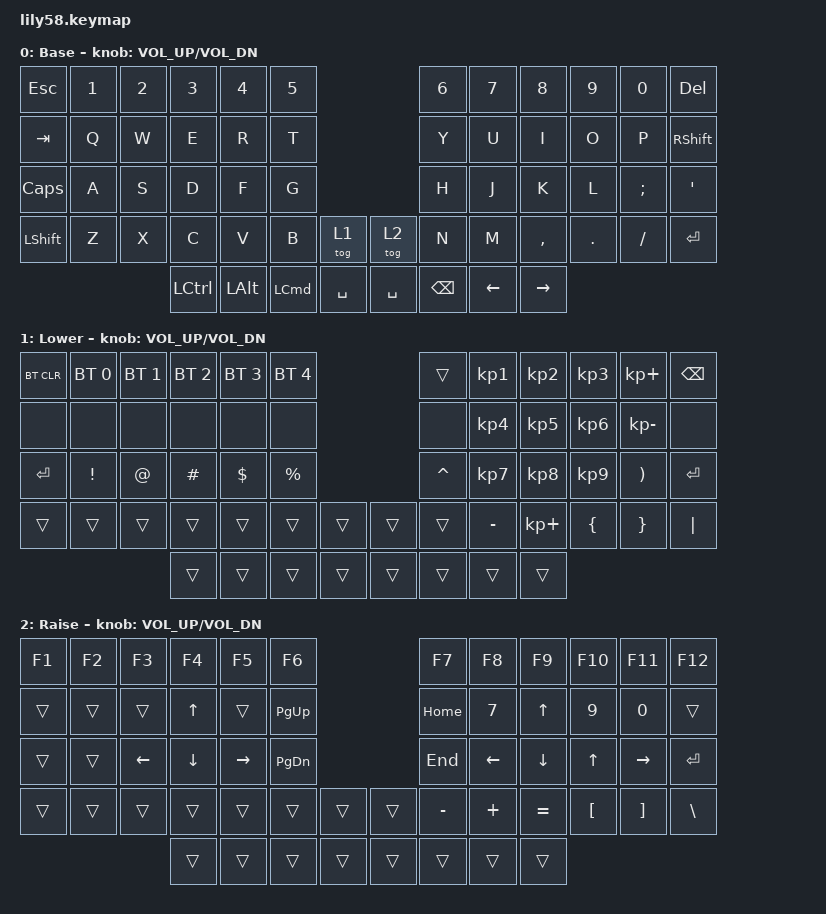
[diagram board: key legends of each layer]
/*
 * Copyright (c) 2020 The ZMK Contributors
 *
 * SPDX-License-Identifier: MIT
 */

#include <behaviors.dtsi>
#include <dt-bindings/zmk/bt.h>
#include <dt-bindings/zmk/keys.h>

/ {
    macros {
        new_macro: new_macro {
            compatible = "zmk,behavior-macro";
            #binding-cells = <0>;
            bindings = <&none>, <&macro_press>;

            label = "NEW_MACRO";
        };
    };

    behaviors {
        hold_tap: hold_tap {
            compatible = "zmk,behavior-hold-tap";
            label = "HOLD_TAP";
            bindings = <&kp>, <&kp>;

            #binding-cells = <2>;
            tapping-term-ms = <220>;
            quick-tap-ms = <150>;
            flavor = "tap-preferred";
        };
    };

    keymap {
        compatible = "zmk,keymap";

        default_layer {
            // ------------------------------------------------------------------------------------------------------------
            // |  ESC  |  1  |  2  |  3   |  4   |  5   |                   |  6   |  7    |  8    |  9   |   0   |   `   |
            // |  TAB  |  Q  |  W  |  E   |  R   |  T   |                   |  Y   |  U    |  I    |  O   |   P   |   -   |
            // |  CTRL |  A  |  S  |  D   |  F   |  G   |                   |  H   |  J    |  K    |  L   |   ;   |   '   |
            // | SHIFT |  Z  |  X  |  C   |  V   |  B   |   "["  |  |  "]"  |  N   |  M    |  ,    |  .   |   /   | SHIFT |
            //                     | ALT  | GUI  | LOWER|  SPACE |  | ENTER | RAISE| BSPC  | GUI   |

            display-name = "Base";
            bindings = <
&kp ESC       &kp N1  &kp N2  &kp N3            &kp N4        &kp N5                                    &kp N6         &kp N7    &kp N8     &kp N9   &kp N0    &kp DELETE
&kp TAB       &kp Q   &kp W   &kp E             &kp R         &kp T                                     &kp Y          &kp U     &kp I      &kp O    &kp P     &kp RSHIFT
&kp CAPSLOCK  &kp A   &kp S   &kp D             &kp F         &kp G                                     &kp H          &kp J     &kp K      &kp L    &kp SEMI  &kp SQT
&kp LSHFT     &kp Z   &kp X   &kp C             &kp V         &kp B             &tog 1       &tog 2     &kp N          &kp M     &kp COMMA  &kp DOT  &kp FSLH  &kp ENTER
                              &kp LEFT_CONTROL  &kp LEFT_ALT  &kp LEFT_COMMAND  &kp SPACE    &kp SPACE  &kp BACKSPACE  &kp LEFT  &kp RIGHT
            >;

            sensor-bindings = <&inc_dec_kp C_VOL_UP C_VOL_DN>;
        };

        lower_layer {
            // ------------------------------------------------------------------------------------------------------------
            // | BTCLR | BT1 | BT2 |  BT3 |  BT4 |  BT5 |                   |      |       |       |      |       |       |
            // |  F1   |  F2 |  F3 |  F4  |  F5  |  F6  |                   |  F7  |  F8   |  F9   |  F10 |  F11  |  F12  |
            // |   `   |  !  |  @  |  #   |  $   |  %   |                   |  ^   |  &    |  *    |  (   |   )   |   ~   |
            // |       |     |     |      |      |      |        |  |       |      |  _    |  +    |  {   |   }   |  "|"  |
            //                     |      |      |      |        |  |       |      |       |       |

            display-name = "Lower";
            bindings = <
&bt BT_CLR  &bt BT_SEL 0  &bt BT_SEL 1  &bt BT_SEL 2  &bt BT_SEL 3  &bt BT_SEL 4                    &trans     &kp KP_NUMBER_1  &kp KP_NUMBER_2  &kp KP_NUMBER_3  &kp KP_PLUS   &kp BACKSPACE
&none       &none         &none         &none         &none         &none                           &none      &kp KP_NUMBER_4  &kp KP_NUMBER_5  &kp KP_NUMBER_6  &kp KP_MINUS  &none
&kp ENTER   &kp EXCL      &kp AT        &kp HASH      &kp DOLLAR    &kp PRCNT                       &kp CARET  &kp KP_NUMBER_7  &kp KP_NUMBER_8  &kp KP_NUMBER_9  &kp RPAR      &kp ENTER
&trans      &trans        &trans        &trans        &trans        &trans        &trans    &trans  &trans     &kp MINUS        &kp KP_PLUS      &kp LBRC         &kp RBRC      &kp PIPE
                                        &trans        &trans        &trans        &trans    &trans  &trans     &trans           &trans
            >;

            sensor-bindings = <&inc_dec_kp C_VOL_UP C_VOL_DN>;
        };

        raise_layer {
            // ------------------------------------------------------------------------------------------------------------
            // |       |     |     |      |      |      |                   |      |       |       |      |       |       |
            // |   `   |  1  |  2  |  3   |  4   |  5   |                   |  6   |   7   |   8   |  9   |   0   |       |
            // |   F1  |  F2 |  F3 |  F4  |  F5  |  F6  |                   |      |   <-  |   v   |  ^   |  ->   |       |
            // |   F7  |  F8 |  F9 |  F10 |  F11 |  F12 |        |  |       |  +   |   -   |   =   |  [   |   ]   |   \   |
            //                     |      |      |      |        |  |       |      |       |       |

            display-name = "Raise";
            bindings = <
&kp F1  &kp F2  &kp F3    &kp F4        &kp F5     &kp F6                           &kp F7     &kp F8    &kp F9        &kp F10   &kp F11    &kp F12
&trans  &trans  &trans    &kp UP_ARROW  &trans     &kp PAGE_UP                      &kp HOME   &kp N7    &kp UP_ARROW  &kp N9    &kp N0     &trans
&trans  &trans  &kp LEFT  &kp DOWN      &kp RIGHT  &kp PAGE_DOWN                    &kp END    &kp LEFT  &kp DOWN      &kp UP    &kp RIGHT  &kp ENTER
&trans  &trans  &trans    &trans        &trans     &trans         &trans    &trans  &kp MINUS  &kp PLUS  &kp EQUAL     &kp LBKT  &kp RBKT   &kp BSLH
                          &trans        &trans     &trans         &trans    &trans  &trans     &trans    &trans
            >;

            sensor-bindings = <&inc_dec_kp C_VOL_UP C_VOL_DN>;
        };
    };
};
